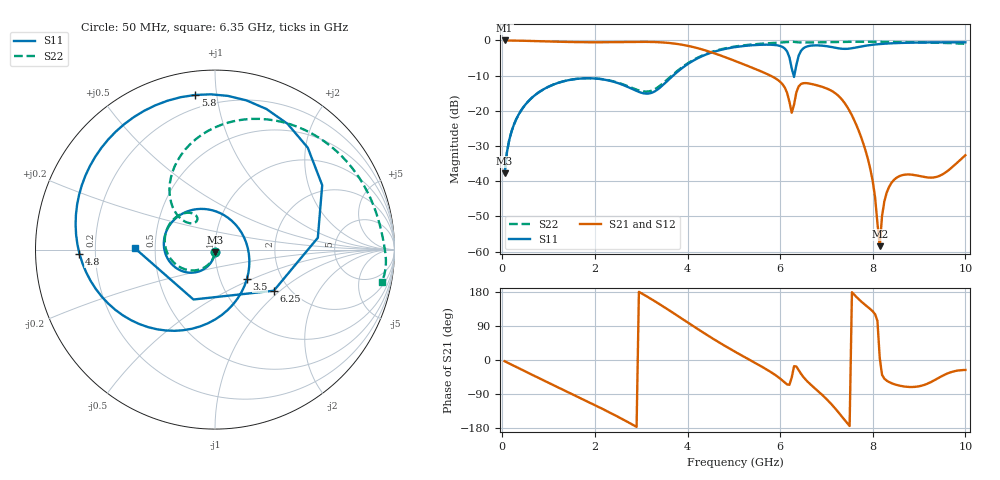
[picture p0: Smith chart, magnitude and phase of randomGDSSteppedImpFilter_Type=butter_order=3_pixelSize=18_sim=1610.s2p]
! freq	dB(S11)	phase(S11)	dB(S12)	phase(S12)
!  dB(S21)	phase(S21)	dB(S22)	phase(S22)
!S-par simulation data
#  GHz  S  DB  R 50
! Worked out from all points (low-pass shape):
!   200 points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, 50 MHz to 10 GHz, reference 50 ohm
!   highest |S21| = -0.01 dB at 50 MHz (marker M1); lowest = -58.5 dB at 8.15 GHz (marker M2)
!   |S21| within 3 dB of the highest: start of sweep to 4.428 GHz
!   lowest |S11| = -37.8 dB at 50 MHz (marker M3), VSWR 1.03, Z = 49.9 - j1.29 ohm
!   |S11| at or under -10 dB: start of sweep to 3.688 GHz; 6.292191 GHz to 6.305555 GHz (13.36 MHz wide, 0.212 % of centre)
!   |S22| runs from -37.8 to -0.4 dB; largest |S21 - S12| = 0
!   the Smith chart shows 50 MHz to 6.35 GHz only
!   S11 on the Smith chart (normalised r, x): 50 MHz: 1.00, -0.03; 3.5 GHz: 1.34, -0.47; 4.8 GHz: 0.14, -0.02; 5.8 GHz: 0.12, +0.87; 6.25 GHz: 1.67, -0.91; 6.35 GHz: 0.38, +0.01
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0.05  -37.78 -92.5  -0.01 -3.1  -0.01 -3.1  -37.78 -92.9
0.5  -18.22 -119.0  -0.11 -30.4  -0.11 -30.4  -18.22 -122.8
1.75  -10.78 168.9  -0.51 -104.3  -0.51 -104.3  -10.76 161.4
2.7  -13.17 93.9  -0.43 -163.0  -0.43 -163.0  -12.95 119.9
3.4  -13.47 -26.0  -0.52 147.0  -0.52 147.0  -12.91 136.8
3.5  -12.30 -43.0  -0.61 139.3  -0.61 139.3  -11.83 137.9
4.15  -5.55 -121.3  -1.97 87.3  -1.97 87.3  -5.36 112.6
4.8  -2.44 -178.2  -4.70 37.8  -4.70 37.8  -2.27 71.2
5.05  -1.85 162.0  -5.95 20.1  -5.95 20.1  -1.67 55.9
5.8  -1.22 97.3  -10.07 -31.9  -10.07 -31.9  -0.76 15.7
6.05  -1.84 60.1  -12.44 -54.2  -12.44 -54.2  -0.56 3.9
6.25  -7.96 -35.0  -20.56 -46.3  -20.56 -46.3  -0.38 -6.0
6.35  -6.98 178.9  -14.76 -17.1  -14.76 -17.1  -0.49 -11.1
6.5  -2.25 105.2  -12.15 -44.6  -12.15 -44.6  -0.58 -16.8
6.7  -1.43 62.4  -12.44 -69.4  -12.44 -69.4  -0.56 -24.3
7.05  -1.73 -5.3  -13.91 -109.2  -13.91 -109.2  -0.51 -37.2
7.35  -2.38 -86.9  -17.06 -151.9  -17.06 -151.9  -0.43 -47.8
7.7  -1.85 178.6  -25.79 160.0  -25.79 160.0  -0.37 -60.2
8  -1.22 128.1  -40.11 128.3  -40.11 128.3  -0.38 -70.5
8.15  -1.03 110.2  -58.48 5.9  -58.48 5.9  -0.39 -75.5
8.35  -0.85 90.7  -41.69 -58.0  -41.69 -58.0  -0.42 -82.1
10  -0.54 -4.1  -32.63 -26.4  -32.63 -26.4  -0.96 -143.0
